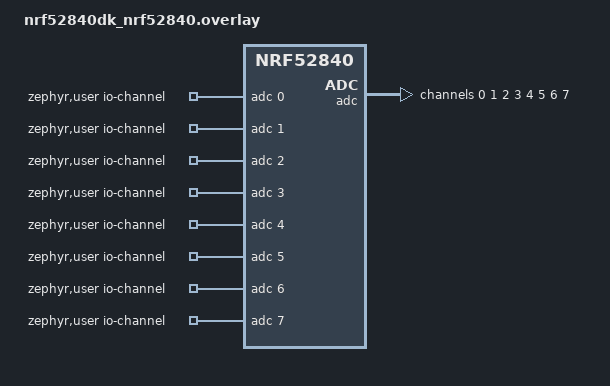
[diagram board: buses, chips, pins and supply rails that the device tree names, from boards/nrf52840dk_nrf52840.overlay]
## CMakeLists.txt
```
cmake_minimum_required(VERSION 3.20.0)
find_package(Zephyr REQUIRED HINTS $ENV{ZEPHYR_BASE})

project(test)

target_sources(app PRIVATE src/main.c)

# external modules
add_subdirectory(src/raafat-rgb)
```

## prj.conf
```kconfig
CONFIG_LOG=y
CONFIG_LOG_BACKEND_RTT=y
CONFIG_PRINTK=y
CONFIG_CLOCK_CONTROL_NRF_K32SRC_RC=y
CONFIG_LED_STRIP=y
CONFIG_LED_STRIP_LOG_LEVEL_DBG=y
CONFIG_WS2812_STRIP=y
CONFIG_SPI=y

CONFIG_NRFX_PPI=y
# This driver only uses spi_write() with the SPIM instance it allocates,
# so PAN 58 doesn't matter, because the RX length is always 0.
CONFIG_SOC_NRF52832_ALLOW_SPIM_DESPITE_PAN_58=y

#Configure NFC Pins as GPIO
CONFIG_NFCT_PINS_AS_GPIOS=y

CONFIG_BOARD_ENABLE_DCDC=n
```

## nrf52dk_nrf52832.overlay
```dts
/*
 * Copyright (c) 2019, Nordic Semiconductor ASA
 *
 * SPDX-License-Identifier: Apache-2.0
 */

 #include <zephyr/dt-bindings/led/led.h>

 #include "nrf52-bindings.h"
 
 &arduino_spi { /* MOSI on D11 / P0.23 */
     compatible = "nordic,nrf-spim";
     status = "okay";
    cs-gpios = <&arduino_header 16 GPIO_ACTIVE_LOW>; /* D10 */
    pinctrl-0 = <&spi2_wsled>;
    pinctrl-names = "default", "sleep";

     led_strip: ws2812@0 {
         compatible = "worldsemi,ws2812-spi";
 
         /* SPI */
         reg = <0>; /* ignored, but necessary for SPI bindings */
         spi-max-frequency = <SPI_FREQ>;
 
         /* WS2812 */
         chain-length = <WS2812_LENGTH>; /* arbitrary; change at will */
         color-mapping = <LED_COLOR_ID_GREEN
                  LED_COLOR_ID_RED
                  LED_COLOR_ID_BLUE>;
         spi-one-frame = <ONE_FRAME>;
         spi-zero-frame = <ZERO_FRAME>;
     };
 };
 
 / {
     aliases {
         led-strip = &led_strip;
     };
 };
 
&arduino_header {
    gpio-map = <0 0 &gpio0 3 0>,
               <1 0 &gpio0 4 0>,
               <2 0 &gpio0 28 0>,
               <3 0 &gpio0 29 0>,
               <4 0 &gpio0 30 0>,
               <5 0 &gpio0 31 0>,
               <6 0 &gpio0 11 0>,
               <7 0 &gpio0 12 0>,
               <8 0 &gpio0 13 0>,
               <9 0 &gpio0 14 0>,
               <10 0 &gpio0 15 0>,
               <11 0 &gpio0 16 0>,
               <12 0 &gpio0 17 0>,
               <13 0 &gpio0 18 0>,
               <14 0 &gpio0 19 0>,
               <15 0 &gpio0 20 0>,
               <16 0 &gpio0 22 0>,
               <17 0 &gpio0 23 0>,
               <18 0 &gpio0 24 0>,
               <19 0 &gpio0 25 0>,
               <20 0 &gpio0 26 0>,
               <21 0 &gpio0 27 0>;
};

&arduino_header {
    gpio-map = <0 0 &gpio0 3 0>,
               <1 0 &gpio0 4 0>,
               <2 0 &gpio0 28 0>,
               <3 0 &gpio0 29 0>,
               <4 0 &gpio0 30 0>,
               <5 0 &gpio0 31 0>,
               <6 0 &gpio0 11 0>,
               <7 0 &gpio0 12 0>,
               <8 0 &gpio0 13 0>,
               <9 0 &gpio0 14 0>,
               <10 0 &gpio0 15 0>,
               <11 0 &gpio0 16 0>,
               <12 0 &gpio0 17 0>,
               <13 0 &gpio0 18 0>,
               <14 0 &gpio0 19 0>,
               <15 0 &gpio0 20 0>,
               <16 0 &gpio0 22 0>,
               <17 0 &gpio0 23 0>,
               <18 0 &gpio0 24 0>,
               <19 0 &gpio0 25 0>,
               <20 0 &gpio0 26 0>,
               <21 0 &gpio0 27 0>;
};

&pinctrl {
    spi2_wsled: spi2_wsled {
        group1 {
            psels = <NRF_PSEL(SPIM_SCK, 0, 25)>,
                <NRF_PSEL(SPIM_MOSI, 0, 18)>,
                <NRF_PSEL(SPIM_MISO, 0, 24)>;
        };
    };
};
```

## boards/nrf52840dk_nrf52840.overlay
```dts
/*
 * SPDX-License-Identifier: Apache-2.0
 *
 * Copyright (c) 2022 Nordic Semiconductor ASA
 */


/ {
	zephyr,user {
		io-channels = <&adc 0>, <&adc 1>,<&adc 2>,<&adc 3>,<&adc 4>,<&adc 5>,<&adc 6>,<&adc 7>;//
	};
};

&adc {
	#address-cells = <1>;
	#size-cells = <0>;

	channel@0 {
		reg = <0>;
		zephyr,gain = "ADC_GAIN_1_6";
		zephyr,reference = "ADC_REF_INTERNAL";
		zephyr,acquisition-time = <ADC_ACQ_TIME_DEFAULT>;
		zephyr,input-positive = <NRF_SAADC_AIN0>; /* P0.02 */
		zephyr,resolution = <12>;
		zephyr,oversampling = <8>;
	};

	channel@1 {
		reg = <1>;
		zephyr,gain = "ADC_GAIN_1_6";
		zephyr,reference = "ADC_REF_INTERNAL";
		zephyr,acquisition-time = <ADC_ACQ_TIME_DEFAULT>;
		zephyr,input-positive = <NRF_SAADC_AIN1>;/* P0.03 */
		zephyr,resolution = <12>;
		zephyr,oversampling = <8>;
	};
	channel@2 {
		reg = <2>;
		zephyr,gain = "ADC_GAIN_1_6";
		zephyr,reference = "ADC_REF_INTERNAL";
		zephyr,acquisition-time = <ADC_ACQ_TIME_DEFAULT>;
		zephyr,input-positive = <NRF_SAADC_AIN2>;/* P0.04 */
		zephyr,resolution = <12>;
		zephyr,oversampling = <8>;
	};
	channel@3 {
		reg = <3>;
		zephyr,gain = "ADC_GAIN_1_6";
		zephyr,reference = "ADC_REF_INTERNAL";
		zephyr,acquisition-time = <ADC_ACQ_TIME_DEFAULT>;
		zephyr,input-positive = <NRF_SAADC_AIN3>;/* P0.05 */
		zephyr,resolution = <12>;
		zephyr,oversampling = <8>;
	};
	channel@4 {
		reg = <4>;
		zephyr,gain = "ADC_GAIN_1_6";
		zephyr,reference = "ADC_REF_INTERNAL";
		zephyr,acquisition-time = <ADC_ACQ_TIME_DEFAULT>;
		zephyr,input-positive = <NRF_SAADC_AIN4>;/* P0.28 */
		zephyr,resolution = <12>;
		zephyr,oversampling = <8>;
	};
	channel@5 {
		reg = <5>;
		zephyr,gain = "ADC_GAIN_1_6";
		zephyr,reference = "ADC_REF_INTERNAL";
		zephyr,acquisition-time = <ADC_ACQ_TIME_DEFAULT>;
		zephyr,input-positive = <NRF_SAADC_AIN5>;/* P0.29 */
		zephyr,resolution = <12>;
		zephyr,oversampling = <8>;
	};
	channel@6 {
		reg = <6>;
		zephyr,gain = "ADC_GAIN_1_6";
		zephyr,reference = "ADC_REF_INTERNAL";
		zephyr,acquisition-time = <ADC_ACQ_TIME_DEFAULT>;
		zephyr,input-positive = <NRF_SAADC_AIN6>;/* P0.30 */
		zephyr,resolution = <12>;
		zephyr,oversampling = <8>;
	};
	channel@7 {
		reg = <7>;
		zephyr,gain = "ADC_GAIN_1_6";
		zephyr,reference = "ADC_REF_INTERNAL";
		zephyr,acquisition-time = <ADC_ACQ_TIME_DEFAULT>;
		zephyr,input-positive = <NRF_SAADC_AIN7>;/* P0.31*/
		zephyr,resolution = <12>;
		zephyr,oversampling = <8>;
	};
};
/*
* AIN0 ; P0.02----1
* AIN1 ; P0.03----2
* AIN2 ; P0.04----3
* AIN3 ; P0.05----4
* AIN4 ; P0.28----5
* AIN5 ; P0.29----6
* AIN6 ; P0.30 ---7
* AIN7 ; P0.31 ---8
 */
```

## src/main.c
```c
/*
 * Copyright (c) 2017 Linaro Limited
 * Copyright (c) 2018 Intel Corporation
 *
 * SPDX-License-Identifier: Apache-2.0
 */

#include <errno.h>
#include <string.h>

#define LOG_LEVEL 4
#include <zephyr/logging/log.h>
LOG_MODULE_REGISTER(main);

#include <zephyr/zephyr.h>

#include "raafat_rgb.h"

void main(void)
{
	raafat_rgb_init();

	LOG_INF("Displaying pattern on strip");
	while (1) {
		LOG_INF("Main Thread Running!\n");
		k_sleep(K_SECONDS(10));
	}
}

#if 0 
#include <zephyr/zephyr.h>
#include <zephyr/kernel.h>
#include <zephyr/logging/log.h>
#include <zephyr/drivers/gpio.h>

LOG_MODULE_REGISTER(Application);

/* 1000 msec = 1 sec */
#define SLEEP_TIME_MS 1000

/* The devicetree node identifier for the "led0" alias. */
#define LED0_NODE DT_ALIAS(led3)

/*
 * A build error on this line means your board is unsupported.
 * See the sample documentation for information on how to fix this.
 */
static const struct gpio_dt_spec led = GPIO_DT_SPEC_GET(LED0_NODE, gpios);

int main(void)
{
	int ret;

	if (!device_is_ready(led.port))
	{
		return 0;
	}

	ret = gpio_pin_configure_dt(&led, GPIO_OUTPUT_ACTIVE);
	if (ret < 0)
	{
		return 0;
	}
	gpio_pin_set_dt(&led, 1);

	while (1)
	{
		// ret = gpio_pin_toggle_dt(&led);
		// if (ret < 0) {
		// 	return 0;
		// }
		LOG_INF("Hello");
		k_msleep(1000);
	}

	return 0;
}

#endif
```

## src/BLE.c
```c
/*
 * Copyright (c) 2018 Nordic Semiconductor ASA
 *
 * SPDX-License-Identifier: LicenseRef-Nordic-5-Clause
 */

/** @file
 *  @brief LED Button Service (LBS) sample
 */

#include <zephyr/types.h>
#include <stddef.h>
#include <string.h>
#include <errno.h>
#include <zephyr/sys/printk.h>
#include <zephyr/sys/byteorder.h>
#include <zephyr/kernel.h>

#include <zephyr/bluetooth/bluetooth.h>
#include <zephyr/bluetooth/hci.h>
#include <zephyr/bluetooth/conn.h>
#include <zephyr/bluetooth/uuid.h>
#include <zephyr/bluetooth/gatt.h>

#include "BLE.h"

#include <zephyr/logging/log.h>

LOG_MODULE_DECLARE(Lesson4_Exercise1);

static bool button_state;
static struct my_lbs_cb lbs_cb;

/* STEP 6 - Implement the write callback function of the LED characteristic */
static ssize_t write_led(struct bt_conn *conn, const struct bt_gatt_attr *attr, const void *buf,
			 uint16_t len, uint16_t offset, uint8_t flags)
{
	LOG_DBG("Attribute write, handle: %u, conn: %p", attr->handle, (void *)conn);

	// if (len != 1U) {
	// 	LOG_DBG("Write led: Incorrect data length");
	// 	return BT_GATT_ERR(BT_ATT_ERR_INVALID_ATTRIBUTE_LEN);
	// }

	// if (offset != 0) {
	// 	LOG_DBG("Write led: Incorrect data offset");
	// 	return BT_GATT_ERR(BT_ATT_ERR_INVALID_OFFSET);
	// }

	// if (lbs_cb.led_cb) {
		// Read the received value
		// uint8_t val = *((uint8_t *)buf);
       char* val = (char *)buf;
	   for (size_t i = 0; i < len; i++)
	   {
		/* code */
		printk("%c\n",val[i]);
	   }

    	

	// 	if (val == 0x00 || val == 0x01) {
	// 		// Call the application callback function to update the LED state
	// 		lbs_cb.led_cb(val ? true : false);
	// 	} else {
	// 		LOG_DBG("Write led: Incorrect value");
	// 		return BT_GATT_ERR(BT_ATT_ERR_VALUE_NOT_ALLOWED);
	// 	}
	// }

	return len;
}

/* STEP 5 - Implement the read callback function of the Button characteristic */
static ssize_t read_button(struct bt_conn *conn, const struct bt_gatt_attr *attr, void *buf,
			   uint16_t len, uint16_t offset)
{
	// get a pointer to button_state which is passed in the BT_GATT_CHARACTERISTIC() and stored in attr->user_data
	const char *value = attr->user_data;
    // int a = 10;
    // char value[10]; 
    // snprintk(value, sizeof(value), "%d", a);
    printk("Value : %s\n", value);
    //  char value[6]="Tabish";
	LOG_DBG("Attribute read, handle: %u, conn: %p", attr->handle, (void *)conn);

	// if (lbs_cb.button_cb) {
		// Call the application callback function to update the get the current value of the button
		// button_state = lbs_cb.button_cb();
		return bt_gatt_attr_read(conn, attr, buf, len, offset, value, strlen(value));
	// }

	return 0;
}

extern char json[100]; 
/* LED Button Service Declaration */
/* STEP 2 - Create and add the MY LBS service to the Bluetooth LE stack */
BT_GATT_SERVICE_DEFINE(my_lbs_svc, BT_GATT_PRIMARY_SERVICE(BT_UUID_LBS),
		       /* STEP 3 - Create and add the Button characteristic */
		       BT_GATT_CHARACTERISTIC(BT_UUID_LBS_BUTTON, BT_GATT_CHRC_READ,
					      BT_GATT_PERM_READ, read_button, NULL, &json),
		       /* STEP 4 - Create and add the LED characteristic. */
		       BT_GATT_CHARACTERISTIC(BT_UUID_LBS_LED, BT_GATT_CHRC_WRITE,
					      BT_GATT_PERM_WRITE, NULL, write_led, NULL),

			    

);
/* A function to register application callbacks for the LED and Button characteristics  */
int my_lbs_init(struct my_lbs_cb *callbacks)
{
	if (callbacks) {
		lbs_cb.led_cb = callbacks->led_cb;
		lbs_cb.button_cb = callbacks->button_cb;
	}

	return 0;
}
```

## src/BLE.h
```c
/*
 * Copyright (c) 2018 Nordic Semiconductor ASA
 *
 * SPDX-License-Identifier: LicenseRef-Nordic-5-Clause
 */

#ifndef BT_LBS_H_
#define BT_LBS_H_

/**@file
 * @defgroup bt_lbs LED Button Service API
 * @{
 * @brief API for the LED Button Service (LBS).
 */

#ifdef __cplusplus
extern "C" {
#endif

#include <zephyr/types.h>

/* STEP 1 - Define the 128 bit UUIDs for the GATT service and its characteristics in */
/** @brief LBS Service UUID. */
#define BT_UUID_LBS_VAL BT_UUID_128_ENCODE(0x00001, 0x1212, 0xefde, 0x1523, 0x785feabcd123)

/** @brief Button Characteristic UUID. */
#define BT_UUID_LBS_BUTTON_VAL                                                                     \
	BT_UUID_128_ENCODE(0x00002, 0x1212, 0xefde, 0x1523, 0x785feabcd123)

/** @brief LED Characteristic UUID. */
#define BT_UUID_LBS_LED_VAL BT_UUID_128_ENCODE(0x00003, 0x1212, 0xefde, 0x1523, 0x785feabcd123)

#define BT_UUID_LBS BT_UUID_DECLARE_128(BT_UUID_LBS_VAL)
#define BT_UUID_LBS_BUTTON BT_UUID_DECLARE_128(BT_UUID_LBS_BUTTON_VAL)
#define BT_UUID_LBS_LED BT_UUID_DECLARE_128(BT_UUID_LBS_LED_VAL)

/** @brief Callback type for when an LED state change is received. */
typedef void (*led_cb_t)(const bool led_state);

/** @brief Callback type for when the button state is pulled. */
typedef bool (*button_cb_t)(void);

/** @brief Callback struct used by the LBS Service. */
struct my_lbs_cb {
	/** LED state change callback. */
	led_cb_t led_cb;
	/** Button read callback. */
	button_cb_t button_cb;
};

/** @brief Initialize the LBS Service.
 *
 * This function registers application callback functions with the My LBS
 * Service
 *
 * @param[in] callbacks Struct containing pointers to callback functions
 *			used by the service. This pointer can be NULL
 *			if no callback functions are defined.
 *
 *
 * @retval 0 If the operation was successful.
 *           Otherwise, a (negative) error code is returned.
 */
int my_lbs_init(struct my_lbs_cb *callbacks);

#ifdef __cplusplus
}
#endif

/**
 * @}
 */

#endif /* BT_LBS_H_ */
```
